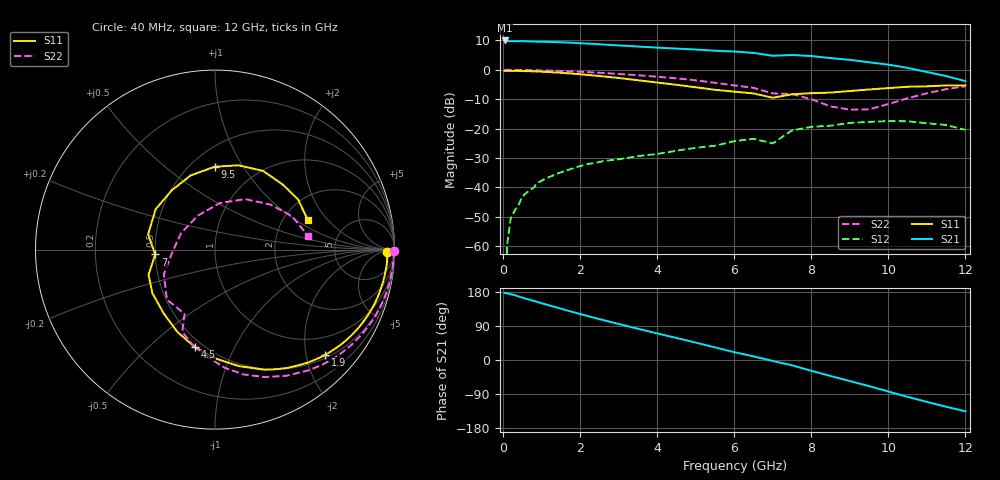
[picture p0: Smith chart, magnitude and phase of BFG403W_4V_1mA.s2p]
! Filename: 41bfg403.001
! BFG403W Field A1
! V1=8.415E-001V,V2=4.000E+000V, I1=1.119E-005A, I2=1.000E-003A
# GHz  S  MA  R 50
!  S11  S21  S12  S22
!Freq(GHz)  Mag  Ang  Mag  Ang  Mag  Ang  Mag  Ang
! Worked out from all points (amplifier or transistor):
!   44 points, 40 MHz to 12 GHz, reference 50 ohm
!   highest |S21| = 10.0 dB at 40 MHz (marker M1)
!   |S21| within 3 dB of that: start of sweep to 4.865 GHz
!   S11 on the Smith chart (normalised r, x): 40 MHz: 43, -16; 1.9 GHz: 0.57, -2.38; 4.5 GHz: 0.45, -0.71; 7 GHz: 0.50, -0.03; 9.5 GHz: 0.65, +0.76; 12 GHz: 2.69, +1.27
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0.04  0.96 -0.8  3.15 177.4  0 28.2  0.997 -0.6
0.1  0.961 -2.4  3.069 176.3  0.001 88.1  0.997 -1.8
0.2  0.961 -4.7  3.056 173.4  0.003 83.2  0.995 -3.7
0.5  0.952 -11.8  3.069 164.5  0.007 79.0  0.991 -9.2
0.9  0.933 -21.0  3.008 152.9  0.012 72.6  0.98 -16.6
1.4  0.897 -32.4  2.945 138.3  0.017 65.0  0.958 -25.5
1.9  0.849 -43.6  2.852 124.2  0.022 57.8  0.93 -34.2
2.2  0.817 -50.2  2.782 116.0  0.025 54.1  0.91 -39.3
3  0.725 -67.4  2.594 95.1  0.03 46.4  0.849 -52.6
3.5  0.663 -78.4  2.484 82.4  0.034 43.1  0.807 -60.6
4.5  0.555 -101.6  2.291 58.1  0.042 37.9  0.715 -76.9
5.5  0.456 -128.9  2.109 33.4  0.051 30.2  0.601 -93.5
6  0.425 -145.2  2.044 20.6  0.061 23.6  0.542 -103.7
6.5  0.396 -159.2  1.938 9.6  0.067 25.7  0.493 -111.7
7  0.334 -175.3  1.73 -2.6  0.056 27.0  0.396 -115.4
7.5  0.382 167.1  1.783 -14.1  0.093 17.1  0.387 -133.9
8  0.4 145.9  1.711 -28.4  0.107 2.6  0.316 -154.3
8.5  0.409 126.1  1.579 -42.2  0.112 -9.3  0.238 -176.7
9.5  0.462 90.1  1.34 -69.0  0.13 -34.6  0.212 116.9
10.5  0.514 58.5  1.075 -97.3  0.133 -63.6  0.328 59.0
11.5  0.541 31.1  0.782 -123.4  0.115 -93.9  0.468 23.4
12  0.542 18.0  0.64 -135.4  0.095 -112.3  0.524 8.4
